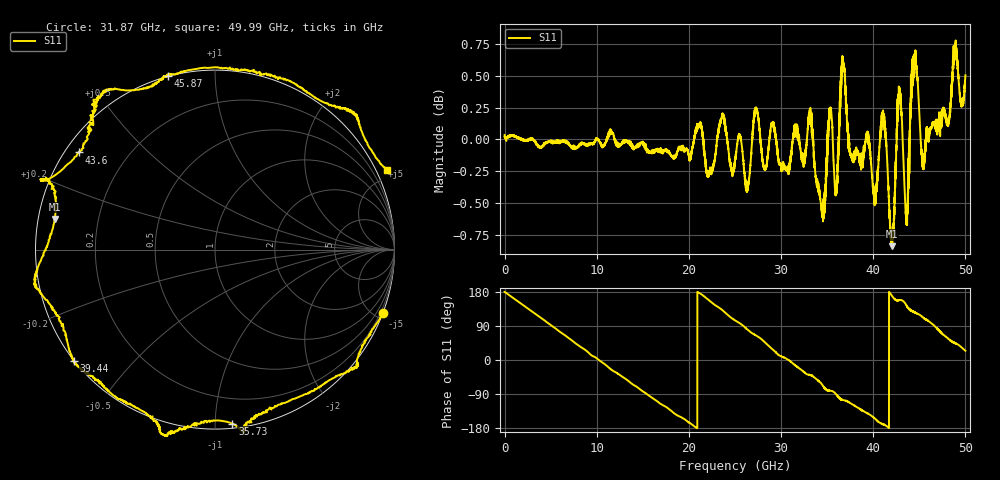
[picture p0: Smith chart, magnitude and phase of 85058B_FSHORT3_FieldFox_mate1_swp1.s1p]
!Created with skrf (http://scikit-rf.org).
# Hz S RI R 50.0
!freq ReS11 ImS11
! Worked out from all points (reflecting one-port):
!   10000 points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, 5.3 MHz to 50 GHz, reference 50 ohm
!   lowest |S11| = -0.8 dB at 42.04 GHz (marker M1), VSWR 20.78, Z = 2.43 + j4.74 ohm
!   phase of S11 starts at 180 deg and turns -876 deg over the sweep
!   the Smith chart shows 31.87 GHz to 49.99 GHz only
!   S11 on the Smith chart (normalised r, x): 31.87 GHz: -0.01, -5.50; 35.73 GHz: 0.03, -1.10; 39.44 GHz: 0.00, -0.35; 43.6 GHz: 0.04, +0.32; 45.87 GHz: -0.00, +0.77; 49.99 GHz: -0.62, +4.51
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5299970  -1.004 0.00212
3.35028e9  -0.523 0.8493
6.255262e9  0.3371 0.9399
9.450243e9  0.9743 0.2056
1.250522e10  0.7675 -0.6333
1.548521e10  -0.0104 -0.991
1.875519e10  -0.8226 -0.55
2.142017e10  -1.001 0.137
2.345016e10  -0.7206 0.7167
2.500515e10  -0.2465 0.9494
2.749514e10  0.4818 0.9006
2.921012e10  0.9145 0.4311
3.125511e10  0.9872 -0.1509
3.187011e10  0.9364 -0.3521
3.33501e10  0.7594 -0.6677
3.573009e10  0.097 -0.9709
3.750507e10  -0.3943 -0.9043
3.943506e10  -0.7849 -0.6194
4.104505e10  -1.003 -0.1907
4.203505e10  -0.8919 0.171
4.295504e10  -0.964 0.3803
4.360004e10  -0.7585 0.5411
4.375504e10  -0.7084 0.6358
4.442503e10  -0.625 0.8592
4.586502e10  -0.2608 0.9671
4.753501e10  0.38 0.9521
4.9985e10  0.963 0.44
5e10  0.9652 0.4373
